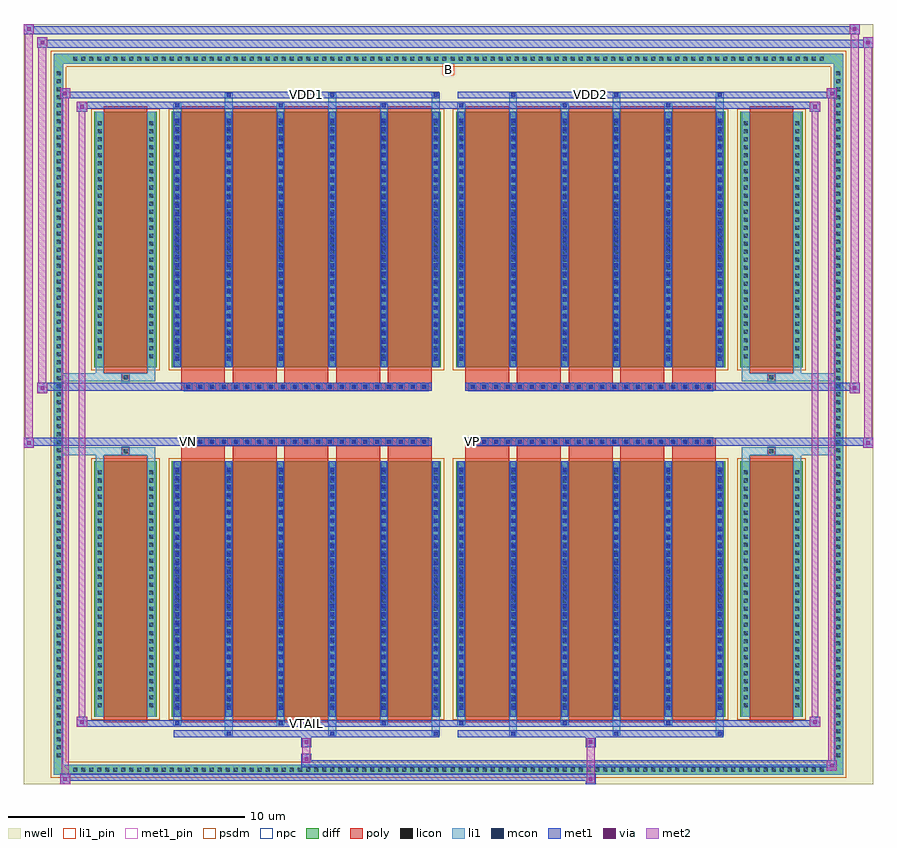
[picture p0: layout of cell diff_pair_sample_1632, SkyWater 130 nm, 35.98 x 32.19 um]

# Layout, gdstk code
import gdstk
lib = gdstk.Library(unit=1e-6, precision=5e-09)
def R(c, l, rs):  # rectangles x0, y0, x1, y1
    for r in rs: c.add(gdstk.rectangle(r[:2], r[2:], *l))
def A(c, l, x, y, w, h, nx, ny, dx, dy):  # array of equal rectangles
    R(c, l, [(x+i*dx, y+j*dy, x+i*dx+w, y+j*dy+h) for i in range(nx) for j in range(ny)])
def P(c, l, *ps):  # polygons
    for p in ps: c.add(gdstk.Polygon(p, *l))
nwell = (64, 20)
diff = (65, 20)
poly = (66, 20)
licon = (66, 44)
li1_pin = (67, 16)
li1 = (67, 20)
mcon = (67, 44)
met1_pin = (68, 16)
met1 = (68, 20)
via = (68, 44)
met2 = (69, 20)
psdm = (94, 20)
npc = (95, 20)

diff_pair_sample_1632 = lib.new_cell('diff_pair_sample_1632')
R(diff_pair_sample_1632, nwell, [(-17.99,-15.66,17.99,16.53), (-15.31,-13.85,-0.01,-0.795), (0.01,-13.85,15.31,-0.795), (-15.31,0.795,-0.01,13.85), (0.01,0.795,15.31,13.85)])
A(diff_pair_sample_1632, diff, -16.015, -15.26, 0.41, 0.41, 94, 2, 0.34, 30.11)
A(diff_pair_sample_1632, diff, -16.72, -14.655, 0.41, 0.41, 1, 86, 0, 0.34)
A(diff_pair_sample_1632, diff, 16.31, -14.655, 0.41, 0.41, 1, 86, 0, 0.34)
R(diff_pair_sample_1632, diff, [(-16.015,-15.26,16.015,-14.85), (-16.72,-14.655,-16.31,14.655), (16.31,-14.655,16.72,14.655), (-15,-12.805,-12.36,-1.985), (-11.72,-12.805,-0.32,-1.985), (0.32,-12.805,11.72,-1.985), (12.36,-12.805,15,-1.985), (-15,1.985,-12.36,12.805), (-11.72,1.985,-0.32,12.805), (0.32,1.985,11.72,12.805), (12.36,1.985,15,12.805), (-16.015,14.85,16.015,15.26)])
P(diff_pair_sample_1632, diff, [(16.72,15.26),(-16.72,15.26),(-16.72,-14.85),(-16.31,-14.85),(-16.31,14.85),(16.31,14.85),(16.31,-14.85),(-16.31,-14.85),(-16.72,-14.85),(-16.72,-15.26),(16.72,-15.26)])
A(diff_pair_sample_1632, poly, -11.33, -13.055, 1.86, 11.32, 5, 2, 2.19, 14.79)
A(diff_pair_sample_1632, poly, 0.71, -13.055, 1.86, 11.32, 5, 2, 2.19, 14.79)
A(diff_pair_sample_1632, poly, -11.33, -1.735, 1.86, 0.41, 5, 2, 2.19, 3.06)
A(diff_pair_sample_1632, poly, 0.71, -1.735, 1.86, 0.41, 5, 2, 2.19, 3.06)
A(diff_pair_sample_1632, poly, -11.185, -1.325, 0.33, 0.33, 21, 2, 0.5, 2.32)
A(diff_pair_sample_1632, poly, 0.855, -1.325, 0.33, 0.33, 21, 2, 0.5, 2.32)
R(diff_pair_sample_1632, poly, [(-14.61,-13.055,-12.75,-1.735), (12.75,-13.055,14.61,-1.735), (-13.845,-1.735,-13.515,-1.405), (-13.845,-1.735,-13.515,-1.405), (13.515,-1.735,13.845,-1.405), (13.515,-1.735,13.845,-1.405), (-11.33,-1.325,-0.71,-0.995), (0.71,-1.325,11.33,-0.995), (-11.33,0.995,-0.71,1.325), (0.71,0.995,11.33,1.325), (-13.845,1.405,-13.515,1.735), (-13.845,1.405,-13.515,1.735), (13.515,1.405,13.845,1.735), (13.515,1.405,13.845,1.735), (-14.61,1.735,-12.75,13.055), (12.75,1.735,14.61,13.055)])
A(diff_pair_sample_1632, licon, -15.895, -15.14, 0.17, 0.17, 94, 2, 0.34, 30.11)
A(diff_pair_sample_1632, licon, -16.6, -14.535, 0.17, 0.17, 1, 86, 0, 0.34)
A(diff_pair_sample_1632, licon, 16.43, -14.535, 0.17, 0.17, 1, 86, 0, 0.34)
A(diff_pair_sample_1632, licon, -14.86, -12.41, 0.17, 0.17, 1, 30, 0, 0.34)
A(diff_pair_sample_1632, licon, -12.67, -12.41, 0.17, 0.17, 1, 30, 0, 0.34)
A(diff_pair_sample_1632, licon, -11.58, -12.41, 0.17, 0.17, 6, 30, 2.19, 0.34)
A(diff_pair_sample_1632, licon, 0.46, -12.41, 0.17, 0.17, 6, 30, 2.19, 0.34)
A(diff_pair_sample_1632, licon, 12.5, -12.41, 0.17, 0.17, 1, 30, 0, 0.34)
A(diff_pair_sample_1632, licon, 14.69, -12.41, 0.17, 0.17, 1, 30, 0, 0.34)
A(diff_pair_sample_1632, licon, -11.105, -1.245, 0.17, 0.17, 21, 2, 0.5, 2.32)
A(diff_pair_sample_1632, licon, 0.935, -1.245, 0.17, 0.17, 21, 2, 0.5, 2.32)
A(diff_pair_sample_1632, licon, -14.86, 2.38, 0.17, 0.17, 1, 30, 0, 0.34)
A(diff_pair_sample_1632, licon, -12.67, 2.38, 0.17, 0.17, 1, 30, 0, 0.34)
A(diff_pair_sample_1632, licon, -11.58, 2.38, 0.17, 0.17, 6, 30, 2.19, 0.34)
A(diff_pair_sample_1632, licon, 0.46, 2.38, 0.17, 0.17, 6, 30, 2.19, 0.34)
A(diff_pair_sample_1632, licon, 12.5, 2.38, 0.17, 0.17, 1, 30, 0, 0.34)
A(diff_pair_sample_1632, licon, 14.69, 2.38, 0.17, 0.17, 1, 30, 0, 0.34)
R(diff_pair_sample_1632, licon, [(-13.765,-1.655,-13.595,-1.485), (13.595,-1.655,13.765,-1.485), (-13.765,1.485,-13.595,1.655), (13.595,1.485,13.765,1.655)])
R(diff_pair_sample_1632, li1_pin, [(-0.25,14.35,0.25,14.85)])
A(diff_pair_sample_1632, li1, -15.975, -15.22, 0.33, 0.33, 94, 2, 0.34, 30.11)
A(diff_pair_sample_1632, li1, -16.68, -14.615, 0.33, 0.33, 1, 86, 0, 0.34)
A(diff_pair_sample_1632, li1, 16.35, -14.615, 0.33, 0.33, 1, 86, 0, 0.34)
A(diff_pair_sample_1632, li1, -9.47, -13.61, 0.33, 0.805, 3, 2, 4.38, 26.415)
A(diff_pair_sample_1632, li1, -9.39, -13.61, 0.17, 0.17, 3, 2, 4.38, 27.05)
A(diff_pair_sample_1632, li1, 2.57, -13.61, 0.33, 0.805, 3, 2, 4.38, 26.415)
A(diff_pair_sample_1632, li1, 2.65, -13.61, 0.17, 0.17, 3, 2, 4.38, 27.05)
A(diff_pair_sample_1632, li1, -11.66, -13.18, 0.33, 0.375, 3, 2, 4.38, 25.985)
A(diff_pair_sample_1632, li1, -11.58, -13.18, 0.17, 0.17, 3, 2, 4.38, 26.19)
A(diff_pair_sample_1632, li1, 0.38, -13.18, 0.33, 0.375, 3, 2, 4.38, 25.985)
A(diff_pair_sample_1632, li1, 0.46, -13.18, 0.17, 0.17, 3, 2, 4.38, 26.19)
A(diff_pair_sample_1632, li1, -11.66, -12.805, 0.33, 10.82, 6, 2, 2.19, 14.79)
A(diff_pair_sample_1632, li1, 0.38, -12.805, 0.33, 10.82, 6, 2, 2.19, 14.79)
A(diff_pair_sample_1632, li1, -11.58, -12.52, 0.17, 0.17, 6, 29, 2.19, 0.36)
A(diff_pair_sample_1632, li1, -11.58, -12.52, 0.17, 10.25, 6, 2, 2.19, 14.79)
A(diff_pair_sample_1632, li1, 0.46, -12.52, 0.17, 0.17, 6, 29, 2.19, 0.36)
A(diff_pair_sample_1632, li1, 0.46, -12.52, 0.17, 10.25, 6, 2, 2.19, 14.79)
A(diff_pair_sample_1632, li1, -14.94, -12.49, 0.33, 0.33, 1, 30, 0, 0.34)
A(diff_pair_sample_1632, li1, -12.75, -12.49, 0.33, 0.33, 1, 30, 0, 0.34)
A(diff_pair_sample_1632, li1, -11.66, -12.49, 0.33, 0.33, 6, 30, 2.19, 0.34)
A(diff_pair_sample_1632, li1, 0.38, -12.49, 0.33, 0.33, 6, 30, 2.19, 0.34)
A(diff_pair_sample_1632, li1, 12.42, -12.49, 0.33, 0.33, 1, 30, 0, 0.34)
A(diff_pair_sample_1632, li1, 14.61, -12.49, 0.33, 0.33, 1, 30, 0, 0.34)
A(diff_pair_sample_1632, li1, -11.185, -1.325, 0.33, 0.33, 21, 2, 0.5, 2.32)
A(diff_pair_sample_1632, li1, 0.855, -1.325, 0.33, 0.33, 21, 2, 0.5, 2.32)
A(diff_pair_sample_1632, li1, -11.58, 2.27, 0.17, 0.17, 6, 29, 2.19, 0.36)
A(diff_pair_sample_1632, li1, 0.46, 2.27, 0.17, 0.17, 6, 29, 2.19, 0.36)
A(diff_pair_sample_1632, li1, -14.94, 2.3, 0.33, 0.33, 1, 30, 0, 0.34)
A(diff_pair_sample_1632, li1, -12.75, 2.3, 0.33, 0.33, 1, 30, 0, 0.34)
A(diff_pair_sample_1632, li1, -11.66, 2.3, 0.33, 0.33, 6, 30, 2.19, 0.34)
A(diff_pair_sample_1632, li1, 0.38, 2.3, 0.33, 0.33, 6, 30, 2.19, 0.34)
A(diff_pair_sample_1632, li1, 12.42, 2.3, 0.33, 0.33, 1, 30, 0, 0.34)
A(diff_pair_sample_1632, li1, 14.61, 2.3, 0.33, 0.33, 1, 30, 0, 0.34)
R(diff_pair_sample_1632, li1, [(-16.72,-15.26,-16.31,-14.85), (-16.72,-15.26,-16.31,-14.85), (-16.31,-15.26,16.31,-14.85), (16.31,-15.26,16.72,-14.85), (16.31,-15.26,16.72,-14.85), (-16.72,-14.85,-16.31,14.85), (16.31,-14.85,16.72,14.85), (-14.94,-12.805,-14.61,-1.985), (-12.75,-12.805,-12.42,-1.985), (12.42,-12.805,12.75,-1.985), (14.61,-12.805,14.94,-1.985), (-14.94,-1.985,-14.61,-1.405), (-12.75,-1.985,-12.42,-1.405), (12.42,-1.985,12.75,-1.405), (14.61,-1.985,14.94,-1.405), (-16.72,-1.735,-13.845,-1.405), (-14.94,-1.735,-13.845,-1.405), (-13.845,-1.735,-13.515,-1.405), (-13.515,-1.735,-12.42,-1.405), (12.42,-1.735,13.515,-1.405), (13.515,-1.735,13.845,-1.405), (13.515,-1.735,16.72,-1.405), (13.845,-1.735,14.94,-1.405), (-16.72,1.405,-13.845,1.735), (-14.94,1.405,-13.845,1.735), (-14.94,1.405,-14.61,1.985), (-13.845,1.405,-13.515,1.735), (-13.515,1.405,-12.42,1.735), (-12.75,1.405,-12.42,1.985), (12.42,1.405,13.515,1.735), (12.42,1.405,12.75,1.985), (13.515,1.405,13.845,1.735), (13.515,1.405,16.72,1.735), (13.845,1.405,14.94,1.735), (14.61,1.405,14.94,1.985), (-14.94,1.985,-14.61,12.805), (-12.75,1.985,-12.42,12.805), (12.42,1.985,12.75,12.805), (14.61,1.985,14.94,12.805), (-16.72,14.85,-16.31,15.26), (-16.72,14.85,-16.31,15.26), (-16.31,14.85,16.31,15.26), (16.31,14.85,16.72,15.26), (16.31,14.85,16.72,15.26)])
A(diff_pair_sample_1632, mcon, -9.39, -13.61, 0.17, 0.17, 3, 2, 4.38, 27.05)
A(diff_pair_sample_1632, mcon, 2.65, -13.61, 0.17, 0.17, 3, 2, 4.38, 27.05)
A(diff_pair_sample_1632, mcon, -11.58, -13.18, 0.17, 0.17, 3, 2, 4.38, 26.19)
A(diff_pair_sample_1632, mcon, 0.46, -13.18, 0.17, 0.17, 3, 2, 4.38, 26.19)
A(diff_pair_sample_1632, mcon, -11.58, -12.52, 0.17, 0.17, 6, 29, 2.19, 0.36)
A(diff_pair_sample_1632, mcon, 0.46, -12.52, 0.17, 0.17, 6, 29, 2.19, 0.36)
A(diff_pair_sample_1632, mcon, -11.105, -1.245, 0.17, 0.17, 21, 2, 0.5, 2.32)
A(diff_pair_sample_1632, mcon, 0.935, -1.245, 0.17, 0.17, 21, 2, 0.5, 2.32)
A(diff_pair_sample_1632, mcon, -11.58, 2.27, 0.17, 0.17, 6, 29, 2.19, 0.36)
A(diff_pair_sample_1632, mcon, 0.46, 2.27, 0.17, 0.17, 6, 29, 2.19, 0.36)
R(diff_pair_sample_1632, met1_pin, [(-6.155,-13.22,-5.885,-12.95), (-11.155,-1.285,-10.885,-1.015), (0.885,-1.285,1.155,-1.015), (-6.155,13.4,-5.885,13.67), (5.885,13.4,6.155,13.67)])
A(diff_pair_sample_1632, met1, -9.45, -13.67, 0.29, 0.29, 3, 2, 4.38, 27.05)
A(diff_pair_sample_1632, met1, 2.59, -13.67, 0.29, 0.29, 3, 2, 4.38, 27.05)
A(diff_pair_sample_1632, met1, -11.64, -13.24, 0.29, 0.29, 3, 2, 4.38, 26.19)
A(diff_pair_sample_1632, met1, 0.4, -13.24, 0.29, 0.29, 3, 2, 4.38, 26.19)
A(diff_pair_sample_1632, met1, -11.64, -12.805, 0.29, 10.82, 6, 2, 2.19, 14.79)
A(diff_pair_sample_1632, met1, 0.4, -12.805, 0.29, 10.82, 6, 2, 2.19, 14.79)
A(diff_pair_sample_1632, met1, -11.64, -12.58, 0.29, 0.29, 6, 29, 2.19, 0.36)
A(diff_pair_sample_1632, met1, 0.4, -12.58, 0.29, 0.29, 6, 29, 2.19, 0.36)
A(diff_pair_sample_1632, met1, -11.165, -1.305, 0.29, 0.29, 21, 2, 0.5, 2.32)
A(diff_pair_sample_1632, met1, 0.875, -1.305, 0.29, 0.29, 21, 2, 0.5, 2.32)
A(diff_pair_sample_1632, met1, -11.64, 2.21, 0.29, 0.29, 6, 29, 2.19, 0.36)
A(diff_pair_sample_1632, met1, 0.4, 2.21, 0.29, 0.29, 6, 29, 2.19, 0.36)
R(diff_pair_sample_1632, met1, [(-16.45,-15.66,-16.02,-15.23), (5.805,-15.66,6.235,-15.23), (-16.45,-15.52,6.235,-15.23), (16.02,-15.09,16.45,-14.66), (-6.235,-14.95,16.45,-14.66), (-6.235,-14.81,-5.805,-14.38), (-6.235,-14.1,-5.805,-13.67), (5.805,-14.1,6.235,-13.67), (-11.64,-13.67,-0.4,-13.38), (0.4,-13.67,11.64,-13.38), (-15.74,-13.24,-15.31,-12.81), (-15.74,-13.24,-11.64,-12.95), (-11.64,-13.24,-0.4,-12.95), (-0.4,-13.24,0.4,-12.95), (0.4,-13.24,11.64,-12.95), (11.64,-13.24,15.74,-12.95), (15.31,-13.24,15.74,-12.81), (-17.99,-1.425,-17.56,-0.995), (17.56,-1.425,17.99,-0.995), (-17.99,-1.325,-0.71,-0.995), (-11.33,-1.325,-0.71,-0.995), (0.71,-1.325,11.33,-0.995), (0.71,-1.325,17.99,-0.995), (-17.42,0.895,-16.99,1.325), (16.99,0.895,17.42,1.325), (-17.42,0.995,-11.33,1.325), (-11.33,0.995,-0.71,1.325), (0.71,0.995,11.33,1.325), (11.33,0.995,17.42,1.325), (-15.74,12.81,-15.31,13.24), (15.31,12.81,15.74,13.24), (-15.74,12.95,-11.64,13.24), (-11.64,12.95,-0.4,13.24), (-0.4,12.95,0.4,13.24), (0.4,12.95,11.64,13.24), (11.64,12.95,15.74,13.24), (-16.45,13.38,-16.02,13.81), (-16.45,13.38,-11.64,13.67), (-11.64,13.38,-0.4,13.67), (0.4,13.38,11.64,13.67), (11.64,13.38,16.45,13.67), (16.02,13.38,16.45,13.81), (-17.42,15.53,-16.99,15.96), (-17.42,15.53,-15.31,15.86), (-15.31,15.53,15.31,15.86), (15.31,15.53,17.99,15.86), (17.56,15.53,17.99,15.96), (-17.99,16.1,-17.56,16.53), (-17.99,16.1,-15.31,16.43), (-15.31,16.1,15.31,16.43), (15.31,16.1,17.42,16.43), (16.99,16.1,17.42,16.53)])
R(diff_pair_sample_1632, via, [(-16.31,-15.52,-16.16,-15.37), (5.945,-15.52,6.095,-15.37), (16.16,-14.95,16.31,-14.8), (-6.095,-14.67,-5.945,-14.52), (-6.095,-13.96,-5.945,-13.81), (5.945,-13.96,6.095,-13.81), (-15.6,-13.1,-15.45,-12.95), (15.45,-13.1,15.6,-12.95), (-17.85,-1.285,-17.7,-1.135), (17.7,-1.285,17.85,-1.135), (-17.28,1.035,-17.13,1.185), (17.13,1.035,17.28,1.185), (-15.6,12.95,-15.45,13.1), (15.45,12.95,15.6,13.1), (-16.31,13.52,-16.16,13.67), (16.16,13.52,16.31,13.67), (-17.28,15.67,-17.13,15.82), (17.7,15.67,17.85,15.82), (-17.85,16.24,-17.7,16.39), (17.13,16.24,17.28,16.39)])
R(diff_pair_sample_1632, met2, [(-16.45,-15.66,-16.02,-15.23), (-16.38,-15.66,-16.09,13.81), (-16.09,-15.66,-16.02,-15.23), (-16.4,-15.61,-16.07,-15.28), (5.855,-15.61,6.185,-15.28), (5.855,-15.28,6.185,-14.05), (16.02,-15.09,16.45,-14.66), (16.09,-15.09,16.38,13.81), (16.38,-15.09,16.45,-14.66), (16.07,-15.04,16.4,-14.71), (-6.185,-14.76,-5.855,-14.43), (-6.185,-14.43,-5.855,-14.05), (-6.185,-14.05,-5.855,-13.72), (5.855,-14.05,6.185,-13.72), (-15.74,-13.24,-15.31,-12.81), (-15.67,-13.24,-15.38,13.24), (-15.38,-13.24,-15.31,-12.81), (15.31,-13.24,15.74,-12.81), (15.38,-13.24,15.67,13.24), (15.67,-13.24,15.74,-12.81), (-15.69,-13.19,-15.36,-12.86), (15.36,-13.19,15.69,-12.86), (-17.99,-1.425,-17.56,-0.995), (-17.94,-1.425,-17.61,16.53), (-17.61,-1.425,-17.56,-0.995), (17.56,-1.425,17.99,-0.995), (17.61,-1.425,17.94,15.96), (17.94,-1.425,17.99,-0.995), (-17.94,-1.375,-17.61,-1.045), (17.61,-1.375,17.94,-1.045), (-17.42,0.895,-16.99,1.325), (-17.37,0.895,-17.04,15.96), (-17.04,0.895,-16.99,1.325), (16.99,0.895,17.42,1.325), (17.04,0.895,17.37,16.53), (17.37,0.895,17.42,1.325), (-17.37,0.945,-17.04,1.275), (17.04,0.945,17.37,1.275), (-15.74,12.81,-15.31,13.24), (-15.38,12.81,-15.31,13.24), (15.31,12.81,15.74,13.24), (15.67,12.81,15.74,13.24), (-15.69,12.86,-15.36,13.19), (15.36,12.86,15.69,13.19), (-16.45,13.38,-16.02,13.81), (-16.09,13.38,-16.02,13.81), (16.02,13.38,16.45,13.81), (16.38,13.38,16.45,13.81), (-16.4,13.43,-16.07,13.76), (16.07,13.43,16.4,13.76), (-17.42,15.53,-16.99,15.96), (-17.04,15.53,-16.99,15.96), (17.56,15.53,17.99,15.96), (17.94,15.53,17.99,15.96), (-17.37,15.58,-17.04,15.91), (17.61,15.58,17.94,15.91), (-17.99,16.1,-17.56,16.53), (-17.61,16.1,-17.56,16.53), (16.99,16.1,17.42,16.53), (17.37,16.1,17.42,16.53), (-17.94,16.15,-17.61,16.48), (17.04,16.15,17.37,16.48)])
R(diff_pair_sample_1632, psdm, [(-15.13,-12.935,-12.23,-1.855), (-11.85,-12.935,-0.19,-1.855), (0.19,-12.935,11.85,-1.855), (12.23,-12.935,15.13,-1.855), (-15.13,1.855,-12.23,12.935), (-11.85,1.855,-0.19,12.935), (0.19,1.855,11.85,12.935), (12.23,1.855,15.13,12.935)])
P(diff_pair_sample_1632, psdm, [(16.85,15.39),(-16.85,15.39),(-16.85,-14.72),(-16.18,-14.72),(-16.18,14.72),(16.18,14.72),(16.18,-14.72),(-16.18,-14.72),(-16.85,-14.72),(-16.85,-15.39),(16.85,-15.39)])
A(diff_pair_sample_1632, npc, -11.205, -1.345, 0.37, 0.37, 21, 2, 0.5, 2.32)
A(diff_pair_sample_1632, npc, 0.835, -1.345, 0.37, 0.37, 21, 2, 0.5, 2.32)
R(diff_pair_sample_1632, npc, [(-13.865,-1.755,-13.495,-1.385), (13.495,-1.755,13.865,-1.385), (-11.205,-1.345,-10.335,-0.975), (-11.205,-1.345,-10.335,-0.975), (-10.705,-1.345,-9.835,-0.975), (-10.705,-1.345,-9.835,-0.975), (-10.205,-1.345,-9.335,-0.975), (-10.205,-1.345,-9.335,-0.975), (-9.705,-1.345,-8.835,-0.975), (-9.705,-1.345,-8.835,-0.975), (-9.205,-1.345,-8.335,-0.975), (-9.205,-1.345,-8.335,-0.975), (-8.705,-1.345,-7.835,-0.975), (-8.705,-1.345,-7.835,-0.975), (-8.205,-1.345,-7.335,-0.975), (-8.205,-1.345,-7.335,-0.975), (-7.705,-1.345,-6.835,-0.975), (-7.705,-1.345,-6.835,-0.975), (-7.205,-1.345,-6.335,-0.975), (-7.205,-1.345,-6.335,-0.975), (-6.705,-1.345,-5.835,-0.975), (-6.705,-1.345,-5.835,-0.975), (-6.205,-1.345,-5.335,-0.975), (-6.205,-1.345,-5.335,-0.975), (-5.705,-1.345,-4.835,-0.975), (-5.705,-1.345,-4.835,-0.975), (-5.205,-1.345,-4.335,-0.975), (-5.205,-1.345,-4.335,-0.975), (-4.705,-1.345,-3.835,-0.975), (-4.705,-1.345,-3.835,-0.975), (-4.205,-1.345,-3.335,-0.975), (-4.205,-1.345,-3.335,-0.975), (-3.705,-1.345,-2.835,-0.975), (-3.705,-1.345,-2.835,-0.975), (-3.205,-1.345,-2.335,-0.975), (-3.205,-1.345,-2.335,-0.975), (-2.705,-1.345,-1.835,-0.975), (-2.705,-1.345,-1.835,-0.975), (-2.205,-1.345,-1.335,-0.975), (-2.205,-1.345,-1.335,-0.975), (-1.705,-1.345,-0.835,-0.975), (-1.705,-1.345,-0.835,-0.975), (0.835,-1.345,1.705,-0.975), (0.835,-1.345,1.705,-0.975), (1.335,-1.345,2.205,-0.975), (1.335,-1.345,2.205,-0.975), (1.835,-1.345,2.705,-0.975), (1.835,-1.345,2.705,-0.975), (2.335,-1.345,3.205,-0.975), (2.335,-1.345,3.205,-0.975), (2.835,-1.345,3.705,-0.975), (2.835,-1.345,3.705,-0.975), (3.335,-1.345,4.205,-0.975), (3.335,-1.345,4.205,-0.975), (3.835,-1.345,4.705,-0.975), (3.835,-1.345,4.705,-0.975), (4.335,-1.345,5.205,-0.975), (4.335,-1.345,5.205,-0.975), (4.835,-1.345,5.705,-0.975), (4.835,-1.345,5.705,-0.975), (5.335,-1.345,6.205,-0.975), (5.335,-1.345,6.205,-0.975), (5.835,-1.345,6.705,-0.975), (5.835,-1.345,6.705,-0.975), (6.335,-1.345,7.205,-0.975), (6.335,-1.345,7.205,-0.975), (6.835,-1.345,7.705,-0.975), (6.835,-1.345,7.705,-0.975), (7.335,-1.345,8.205,-0.975), (7.335,-1.345,8.205,-0.975), (7.835,-1.345,8.705,-0.975), (7.835,-1.345,8.705,-0.975), (8.335,-1.345,9.205,-0.975), (8.335,-1.345,9.205,-0.975), (8.835,-1.345,9.705,-0.975), (8.835,-1.345,9.705,-0.975), (9.335,-1.345,10.205,-0.975), (9.335,-1.345,10.205,-0.975), (9.835,-1.345,10.705,-0.975), (9.835,-1.345,10.705,-0.975), (10.335,-1.345,11.205,-0.975), (10.335,-1.345,11.205,-0.975), (-11.205,0.975,-10.335,1.345), (-11.205,0.975,-10.335,1.345), (-10.705,0.975,-9.835,1.345), (-10.705,0.975,-9.835,1.345), (-10.205,0.975,-9.335,1.345), (-10.205,0.975,-9.335,1.345), (-9.705,0.975,-8.835,1.345), (-9.705,0.975,-8.835,1.345), (-9.205,0.975,-8.335,1.345), (-9.205,0.975,-8.335,1.345), (-8.705,0.975,-7.835,1.345), (-8.705,0.975,-7.835,1.345), (-8.205,0.975,-7.335,1.345), (-8.205,0.975,-7.335,1.345), (-7.705,0.975,-6.835,1.345), (-7.705,0.975,-6.835,1.345), (-7.205,0.975,-6.335,1.345), (-7.205,0.975,-6.335,1.345), (-6.705,0.975,-5.835,1.345), (-6.705,0.975,-5.835,1.345), (-6.205,0.975,-5.335,1.345), (-6.205,0.975,-5.335,1.345), (-5.705,0.975,-4.835,1.345), (-5.705,0.975,-4.835,1.345), (-5.205,0.975,-4.335,1.345), (-5.205,0.975,-4.335,1.345), (-4.705,0.975,-3.835,1.345), (-4.705,0.975,-3.835,1.345), (-4.205,0.975,-3.335,1.345), (-4.205,0.975,-3.335,1.345), (-3.705,0.975,-2.835,1.345), (-3.705,0.975,-2.835,1.345), (-3.205,0.975,-2.335,1.345), (-3.205,0.975,-2.335,1.345), (-2.705,0.975,-1.835,1.345), (-2.705,0.975,-1.835,1.345), (-2.205,0.975,-1.335,1.345), (-2.205,0.975,-1.335,1.345), (-1.705,0.975,-0.835,1.345), (-1.705,0.975,-0.835,1.345), (0.835,0.975,1.705,1.345), (0.835,0.975,1.705,1.345), (1.335,0.975,2.205,1.345), (1.335,0.975,2.205,1.345), (1.835,0.975,2.705,1.345), (1.835,0.975,2.705,1.345), (2.335,0.975,3.205,1.345), (2.335,0.975,3.205,1.345), (2.835,0.975,3.705,1.345), (2.835,0.975,3.705,1.345), (3.335,0.975,4.205,1.345), (3.335,0.975,4.205,1.345), (3.835,0.975,4.705,1.345), (3.835,0.975,4.705,1.345), (4.335,0.975,5.205,1.345), (4.335,0.975,5.205,1.345), (4.835,0.975,5.705,1.345), (4.835,0.975,5.705,1.345), (5.335,0.975,6.205,1.345), (5.335,0.975,6.205,1.345), (5.835,0.975,6.705,1.345), (5.835,0.975,6.705,1.345), (6.335,0.975,7.205,1.345), (6.335,0.975,7.205,1.345), (6.835,0.975,7.705,1.345), (6.835,0.975,7.705,1.345), (7.335,0.975,8.205,1.345), (7.335,0.975,8.205,1.345), (7.835,0.975,8.705,1.345), (7.835,0.975,8.705,1.345), (8.335,0.975,9.205,1.345), (8.335,0.975,9.205,1.345), (8.835,0.975,9.705,1.345), (8.835,0.975,9.705,1.345), (9.335,0.975,10.205,1.345), (9.335,0.975,10.205,1.345), (9.835,0.975,10.705,1.345), (9.835,0.975,10.705,1.345), (10.335,0.975,11.205,1.345), (10.335,0.975,11.205,1.345), (-13.865,1.385,-13.495,1.755), (13.495,1.385,13.865,1.755)])
diff_pair_sample_1632.add(gdstk.Label('VTAIL', (-6.02,-13.085), layer=68, texttype=5))
diff_pair_sample_1632.add(gdstk.Label('VN', (-11.02,-1.15), layer=68, texttype=5))
diff_pair_sample_1632.add(gdstk.Label('VP', (1.02,-1.15), layer=68, texttype=5))
diff_pair_sample_1632.add(gdstk.Label('B', (0,14.6), layer=67, texttype=5))
diff_pair_sample_1632.add(gdstk.Label('VDD2', (6.02,13.535), layer=68, texttype=5))
diff_pair_sample_1632.add(gdstk.Label('VDD1', (-6.02,13.535), layer=68, texttype=5))

lib.write_gds('diff_pair_sample_1632.gds')
